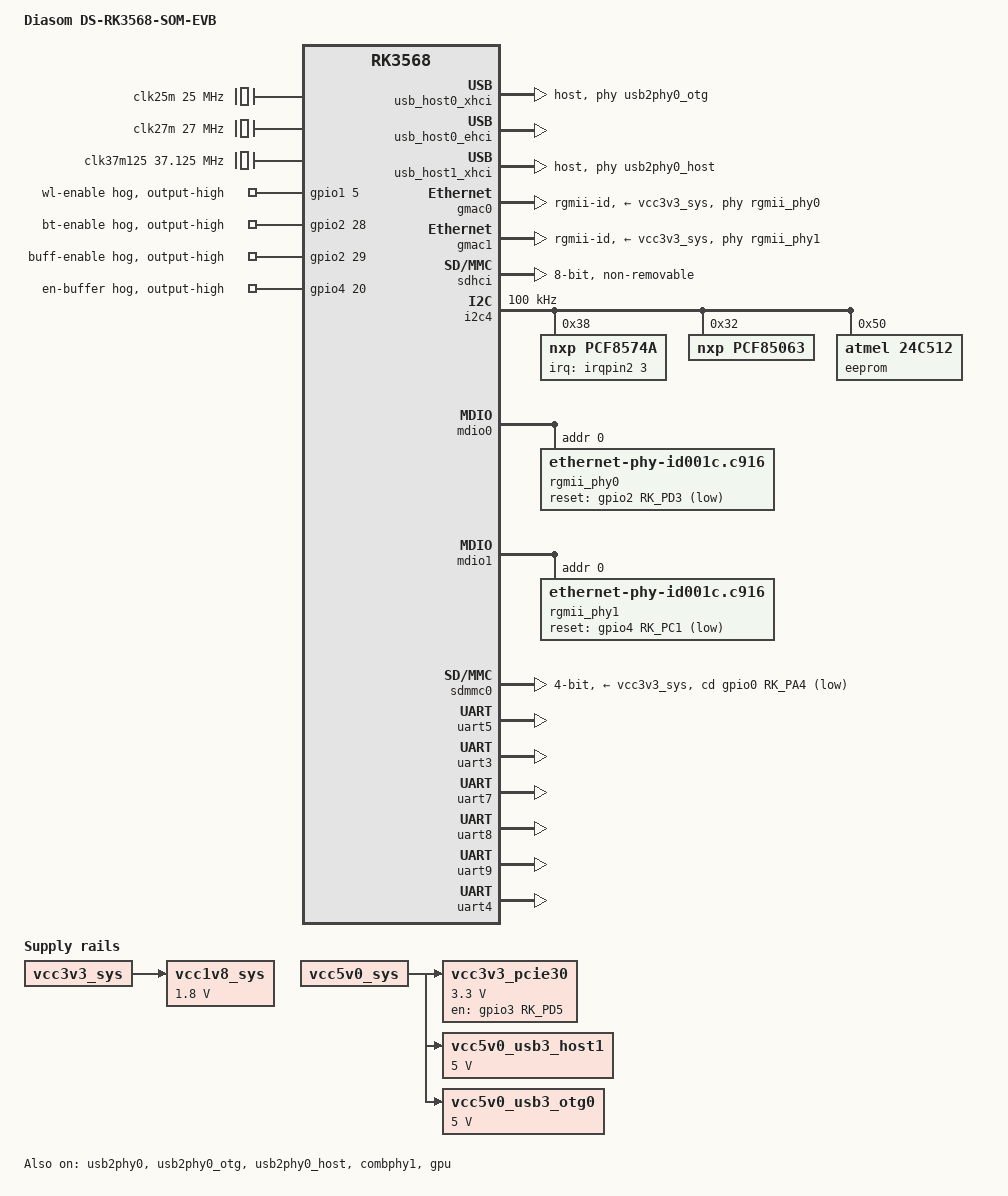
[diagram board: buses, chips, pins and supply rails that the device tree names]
/* SPDX-License-Identifier: GPL-2.0+ */
/* SPDX-FileCopyrightText: Alexander Shiyan <shc_work@mail.ru> */

/dts-v1/;

#include <dt-bindings/soc/rockchip,vop2.h>

#include "rk3568-diasom-som.dtsi"

#define USBOTG_HOST

/ {
	model = "Diasom DS-RK3568-SOM-EVB";
	compatible = "diasom,ds-rk3568-som-evb",
		     "diasom,ds-rk3568-som",
		     "rockchip,rk3568";

	aliases {
		ethernet0 = &gmac0;
		ethernet1 = &gmac1;
		mmc1 = &sdmmc0;
		gpio5 = &pcf8574a;
		rtc1 = &pcf85063;
		state = &state_node;
		mmc0 = &sdmmc0;
        mmc1 = &sdmmc1;
	};

    chosen {
        /* Магия автоматического переключения: */
        /* Если BootROM рапортует старт с mmc0 (eMMC), 
		bootsource смотрит на mmc0 */
        barebox,bootsource-mmc0 = &sdmmc0;
        /* Если BootROM рапортует старт с mmc1 (SD), 
		bootsource прозрачно переключается на mmc1 */
        barebox,bootsource-mmc1 = &sdmmc1;
    };

	state_node: state {
	        compatible = "barebox,state";
	        magic = <0x4c726d63>;
	
        	backend = <&sdmmc0>; 
	        backend-type = "raw";
			/* Благодаря этому GUID, Barebox найдет раздел и на SD, и на eMMC */
			backend-guid = "0657fd6d-a4ab-43c4-84e5-0933c84b4f4f";
	
			bootstate {
				#address-cells = <1>;
				#size-cells = <1>;
				/* Переменные bootchooser */
				system0 {
					/* Резервируем 16 байт под первый слот */
					reg = <0x0 0x10>;
					type = "uint32";
				};

				system1 {
					/* Резервируем следующие 16 байт под второй слот */
					reg = <0x10 0x10>;
					type = "uint32";
				};
			};
	    };

	clk25m: clk25m {
		compatible = "fixed-clock";
		clock-frequency = <25000000>;
		#clock-cells = <0>;
	};

	clk27m: clk27m {
		compatible = "fixed-clock";
		clock-frequency = <27000000>;
		#clock-cells = <0>;
	};

	clk37m125: clk37m125 {
		compatible = "fixed-clock";
		clock-frequency = <37125000>;
		#clock-cells = <0>;
	};

	vcc1v8_sys: vcc1v8-sys-regulator {
		compatible = "regulator-fixed";
		regulator-name = "1v8_sys";
		regulator-always-on;
		regulator-boot-on;
		regulator-min-microvolt = <1800000>;
		regulator-max-microvolt = <1800000>;
		vin-supply = <&vcc3v3_sys>;
	};

	vcc3v3_pcie20: vcc3v3-pcie20-pwr-regulator {
		compatible = "regulator-fixed";
		enable-active-high;
		regulator-name = "3v3_pcie20";
		regulator-min-microvolt = <3300000>;
		regulator-max-microvolt = <3300000>;
		startup-delay-us = <20000>;
		vin-supply = <&vcc3v3_sys>;
		status = "disabled";
	};

	vcc3v3_pcie30: vcc3v3-pcie30-regulator {
		pinctrl-names = "default";
		pinctrl-0 = <&pcie30_pwr_pins>;
		compatible = "regulator-fixed";
		enable-active-high;
		gpio = <&gpio3 RK_PD5 GPIO_ACTIVE_HIGH>;
		regulator-name = "3v3_pcie30";
		regulator-min-microvolt = <3300000>;
		regulator-max-microvolt = <3300000>;
		startup-delay-us = <20000>;
		vin-supply = <&vcc5v0_sys>;
	};

	vcc3v3_pi6c: vcc3v3-pi6c-regulator {
		pinctrl-names = "default";
		// pinctrl-0 = <&pcie30_oe_pins>;
		compatible = "regulator-fixed";
		/* Fixup for PCI-e in the bootloader */
		regulator-boot-on;
		// gpio = <&gpio3 RK_PD4 GPIO_ACTIVE_LOW>;
		regulator-name = "3v3_pi6c";
		regulator-min-microvolt = <3300000>;
		regulator-max-microvolt = <3300000>;
		startup-delay-us = <20000>;
		vin-supply = <&vcc3v3_pcie30>;
		status = "disabled";
	};

	vcc5v0_usb3_host1: vcc5v0-usb3-host1-regulator {
		compatible = "regulator-fixed";
		enable-active-high;
		regulator-name = "vcc5v0_usb3_host1";
		regulator-min-microvolt = <5000000>;
		regulator-max-microvolt = <5000000>;
		startup-delay-us = <20000>;
		vin-supply = <&vcc5v0_sys>;
		regulator-always-on;
		status = "okay";
	};

	vcc5v0_usb3_otg0: vcc5v0-usb3-otg0-regulator {
		compatible = "regulator-fixed";
		regulator-name = "vcc5v0_usb3_otg0";
		regulator-min-microvolt = <5000000>;
		regulator-max-microvolt = <5000000>;
		startup-delay-us = <20000>;
		vin-supply = <&vcc5v0_sys>;
		regulator-always-on;
		status = "okay";
	};

	vcc_cam0: vcc-cam0-regulator {
		pinctrl-names = "default";
		pinctrl-0 = <&csi0_pwr>;
		compatible = "regulator-fixed";
		/* Used by RAW probe for cameras connected via I2C */
		regulator-boot-on;
		enable-active-high;
		// gpio = <&gpio2 RK_PD2 GPIO_ACTIVE_HIGH>;
		regulator-name = "vcc_cam0";
		startup-delay-us = <250000>;
		status = "disabled";
	};

	vcc_cam1: vcc-cam1-regulator {
		compatible = "regulator-fixed";
		enable-active-high;
		regulator-name = "vcc_cam1";
		startup-delay-us = <250000>;
		status = "disabled";
	};
};

/* === ЕДИНЫЙ ФИЗИЧЕСКИЙ БЛОК PHY0 (Здесь разведены оба устройства) === */
&usb2phy0 {
    status = "okay";
};

/* Линии хаба TUSB2077 (Аппаратный OTG0) */
&usb2phy0_otg {
	rockchip,vbus-always-on;
    status = "okay";
};

/* Линии модема LE910C1-EU (Аппаратный Host0) */
&usb2phy0_host {
	rockchip,vbus-always-on;
	status = "okay";
};

/* === КОНТРОЛЛЕР ХАБА TUSB2077 (Использует xHCI 0 + половину PHY0_OTG) === */
&usb_host0_xhci {
    dr_mode = "host";
    phys = <&usb2phy0_otg>;
    phy-names = "usb2-phy";
    maximum-speed = "high-speed";
    status = "okay";
};

&usb_host0_ehci {
    status = "okay";
};

/* === КОНТРОЛЛЕР МОДЕМА (Использует xHCI 1 + половину PHY0_HOST) === */
&usb_host1_xhci {
	dr_mode = "host";
	phys = <&usb2phy0_host>, <&combphy1 PHY_TYPE_USB3>;
	phy-names = "usb2-phy", "usb3-phy";
	status = "okay";
};

&usb_host1_ehci { status = "disabled"; };
&usb_host1_ohci { status = "disabled"; };

&combphy1 {
	status = "okay";
};

/* === НЕИСПОЛЬЗУЕМЫЙ ФИЗИЧЕСКИЙ БЛОК PHY1 (Полностью отключаем) === */
&usb2phy1 { status = "disabled"; };
&usb2phy1_host { status = "disabled"; };
&usb2phy1_otg { status = "disabled"; };

/* === РЕГУЛЯТОРЫ ПИТАНИЯ === */
&vcc5v0_usb3_host1 {
	compatible = "regulator-fixed";
	regulator-name = "vcc5v0_usb3_host1";
	regulator-min-microvolt = <5000000>;
	regulator-max-microvolt = <5000000>;
	regulator-always-on;
	regulator-boot-on;
	status = "okay";
};

&vcc5v0_usb3_otg0 {
	compatible = "regulator-fixed";
	regulator-name = "vcc5v0_usb3_otg0";
	regulator-min-microvolt = <5000000>;
	regulator-max-microvolt = <5000000>;
	regulator-always-on;
	regulator-boot-on;
	status = "okay";
};

&csi2_dphy0 {
	status = "disabled";

	ports {
		#address-cells = <1>;
		#size-cells = <0>;

		port@0 {
			reg = <0>;
			#address-cells = <1>;
			#size-cells = <0>;
		};

		port@1 {
			reg = <1>;

			csi_out: endpoint {
				remote-endpoint = <&isp_in>;
				data-lanes = <1 2 3 4>;
			};
		};
	};
};

&csi2_dphy_hw {
	status = "disabled";
};

&display_subsystem {
	status = "disabled";
};

&gmac0 {
	assigned-clocks = <&cru SCLK_GMAC0_RX_TX>, <&cru SCLK_GMAC0>;
	assigned-clock-parents = <&cru SCLK_GMAC0_RGMII_SPEED>;
	assigned-clock-rates = <0>, <125000000>;
	pinctrl-names = "default";
	pinctrl-0 = <
		&gmac0_miim &gmac0_tx_bus2 &gmac0_rx_bus2
		&gmac0_rgmii_clk &gmac0_rgmii_bus
	>;
	clock_in_out = "output";
	phy-handle = <&rgmii_phy0>;
	phy-mode = "rgmii-id";
	phy-supply = <&vcc3v3_sys>;
};

&gmac1 {
	assigned-clocks = <&cru SCLK_GMAC1_RX_TX>, <&cru SCLK_GMAC1>;
	assigned-clock-parents = <&cru SCLK_GMAC1_RGMII_SPEED>;
	assigned-clock-rates = <0>, <125000000>;
	pinctrl-names = "default";
	pinctrl-0 = <
		&gmac1m1_miim &gmac1m1_tx_bus2 &gmac1m1_rx_bus2
		&gmac1m1_rgmii_clk &gmac1m1_rgmii_bus
	>;
	clock_in_out = "output";
	phy-handle = <&rgmii_phy1>;
	phy-mode = "rgmii-id";
	phy-supply = <&vcc3v3_sys>;
};

&gpu {
	status = "okay";
};

&sdhci {
    status = "okay";
    non-removable;
    bus-width = <8>;
};

&i2c1 {
	/* FUSB302 is not detected at 1MHz, so lets reduce frequency to 400KHz */
	clock-frequency = <400000>;
	status = "disabled";
};

&i2c4 {
	pinctrl-0 = <&i2c4m0_xfer>;
/*
	pinctrl-1 = <&i2c4m0_gpio>;
	pinctrl-names = "default", "recovery";
    recovery-gpios = <&gpio4 RK_PB2 GPIO_ACTIVE_HIGH>,
                     <&gpio4 RK_PB3 GPIO_ACTIVE_HIGH>;
 */
	resets = <&cru SRST_I2C4>;
    	reset-names = "i2c";
/*
	i2c-scl-rising-time-ns = <200>;
    i2c-scl-falling-time-ns = <200>;
    i2c-sda-holding-time-ns = <200>;
    retries = <3>;
    timeout-ms = <1000>;
 */
	clock-frequency = <100000>;
	multi-master;
	status = "okay";

	pcf8574a: gpio5@38 {
		compatible = "nxp,pcf8574a";
		reg = <0x38>;
		gpio-ranges = <&pinctrl 0 160 8>;
		interrupt-parent = <&irqpin2>;
		interrupts = <3 0>;
		gpio-controller;
		#gpio-cells = <2>;
		interrupt-controller;
		#interrupt-cells = <2>;
		gpio-line-names =
			"DI-1",
			"DI-2",
			"DI-3",
			"DI-4",
			"CAP good",
			"PWR good",
			"PWR fault",
			"CAP fault";
	};

	pcf85063: rtc@32 {
		compatible = "nxp,pcf85063";
		reg = <0x32>;
		quartz-load-femtofarads = <12500>;

		clock {
			compatible = "fixed-clock";
			#clock-cells = <0>;
			clock-frequency = <32768>;
		};
	};

	eeprom@50 {
		compatible = "atmel,24c512";
		reg = <0x50>;
		pagesize = <128>;
	};
};

&isp {
	status = "disabled";
};

&isp_mmu {
	status = "disabled";
};

&isp_vir0 {
	status = "disabled";

	port {
		#address-cells = <1>;
		#size-cells = <0>;

		isp_in: endpoint@0 {
			reg = <0>;
			remote-endpoint = <&csi_out>;
		};
	};
};

&mdio0 {
	rgmii_phy0: phy@0 {
		/* RTL8211F */
		pinctrl-names = "default";
		pinctrl-0 = <&gmac0_rst_pins>;
		compatible = "ethernet-phy-id001c.c916";
		reg = <0x0>;
		reset-assert-us = <20000>;
		reset-deassert-us = <100000>;
		reset-gpios = <&gpio2 RK_PD3 GPIO_ACTIVE_LOW>;
	};
};

&mdio1 {
	rgmii_phy1: phy@0 {
		/* RTL8211F */
		pinctrl-names = "default";
		pinctrl-0 = <&gmac1_rst_pins>;
		compatible = "ethernet-phy-id001c.c916";
		reg = <0x0>;
		reset-assert-us = <20000>;
		reset-deassert-us = <100000>;
		reset-gpios = <&gpio4 RK_PC1 GPIO_ACTIVE_LOW>;
	};
};

&pcie2x1 {
	pinctrl-names = "default";
	pinctrl-0 = <&pcie20_pins>;
	reset-gpios = <&gpio1 RK_PB1 GPIO_ACTIVE_HIGH>;
	vpcie3v3-supply = <&vcc3v3_pcie20>;
	status = "disabled";
};

&pcie30phy {
	data-lanes = <1 1>;
	phy-supply = <&vcc3v3_pi6c>;
	status = "disabled";
};

&pcie3x2 {
	pinctrl-names = "default";
	pinctrl-0 = <&pcie30_pins>;
	reset-gpios = <&gpio4 RK_PC4 GPIO_ACTIVE_HIGH>;
	vpcie3v3-supply = <&vcc3v3_pi6c>;
	status = "disabled";
};

&pwm5 {
	status = "disabled";
};

&rga {
	status = "disabled";
};

&sdmmc0 {
	pinctrl-names = "default";
	pinctrl-0 = <&sdmmc0_bus4 &sdmmc0_clk &sdmmc0_cmd &sdmmc0_det>;
	bus-width = <4>;
	disable-wp;
	cd-gpios = <&gpio0 RK_PA4 GPIO_ACTIVE_LOW>;
	vmmc-supply = <&vcc3v3_sys>;
	status = "okay";
};

&spi1 {
	pinctrl-0 = <&spi1m1_pins_hs &spi1m1_cs0_hs>;
	num-cs = <1>;
	status = "disabled";

	spi@0 {
		compatible = "rohm,dh2228fv";
		reg = <0>;
	};
};

&spi2 {
	pinctrl-0 = <&spi2m1_pins_hs &spi2m1_cs0_hs &spi2m1_cs1_hs>;
	num-cs = <2>;
	status = "disabled";

	spi@0 {
		compatible = "rohm,dh2228fv";
		reg = <0>;
	};

	spi@1 {
		compatible = "rohm,dh2228fv";
		reg = <1>;
	};
};

// Slot-1
&uart5 {
	/delete-property/ dmas;
	pinctrl-0 = <&uart5m1_xfer>;
	status = "okay";
};

// Slot-2
&uart3 {
	/delete-property/ dmas;
	pinctrl-0 = <&uart3m1_xfer>;
	status = "okay";
};

// Slot-5 485-1
&uart7 {
	/delete-property/ dmas;
	pinctrl-0 = <&uart7m1_xfer &uart7m0_ctsn &uart7m0_rtsn>;
	linux,rs485-enabled-at-boot-time;
	rs485-rts-active-low;
	uart-has-rtscts;
	status = "okay";
};

// Slot-6 485-2
&uart8 {
	/delete-property/ dmas;
	pinctrl-0 = <&uart8m0_xfer &uart8m0_ctsn &uart8m0_rtsn>;
	linux,rs485-enabled-at-boot-time;
	rs485-rts-active-low;
	uart-has-rtscts;
	status = "okay";
};

// Slot-3
&uart9 {
	/delete-property/ dmas;
	pinctrl-0 = <&uart9m1_xfer>;
	status = "okay";
};

// Slot-4	// TODO: Fix levels
&uart4 {
	/delete-property/ dmas;
	pinctrl-0 = <&uart4m0_xfer>;
	status = "okay";
};

&vpu {
	status = "disabled";
};

&vdpu_mmu {
	status = "disabled";
};

&vepu {
	status = "disabled";
};

&vepu_mmu {
	status = "disabled";
};

&vop {
	status = "disabled";
};

&vop_mmu {
	status = "disabled";
};

&pinctrl {
	pinctrl-names = "default";
	pinctrl-0 = <&board_pins>;

	board {
		board_pins: board-pins {
			rockchip,pins =
				<1 RK_PA7 RK_FUNC_GPIO &pcfg_pull_up>;		/* GPIO_3 */
		};
	};

	csi {
		/* csi0 clkout = cif_clk */

		csi0_pwr: csi0-pwr-pins {
			rockchip,pins =
				<2 RK_PD2 RK_FUNC_GPIO &pcfg_pull_up>;		/* CSI_PWREN0 */
		};

		csi0_rst: csi0-rst-pins {
			rockchip,pins =
				<3 RK_PB6 RK_FUNC_GPIO &pcfg_pull_up>;		/* CSI_RESET0# */
		};
	};

	dsi {
		dsi_pins: dsi-pins {
			rockchip,pins =
				<0 RK_PC5 RK_FUNC_GPIO &pcfg_pull_up>,		/* DSI_PWREN */
				<0 RK_PB6 RK_FUNC_GPIO &pcfg_pull_up>;		/* DSI_RESET# */
		};
	};

	lvds {
		lvds_pins: lvds-pins {
			rockchip,pins =
				<0 RK_PC5 RK_FUNC_GPIO &pcfg_pull_up>;		/* LVDS_PWREN */
		};
	};

	net {
		gmac0_rst_pins: gmac0-rst-pins {
			rockchip,pins =
				<2 RK_PD3 RK_FUNC_GPIO &pcfg_pull_none>;	/* GMAC0_RST */
		};

		gmac1_rst_pins: gmac1-rst-pins {
			rockchip,pins =
				<4 RK_PC1 RK_FUNC_GPIO &pcfg_pull_none>;	/* GMAC1_RST */
		};
	};

	pcie20 {
		pcie20_pins: pcie20-pins {
			rockchip,pins =
				<2 RK_PD0 4 &pcfg_pull_none>,			/* PCIE20_CLKREQn_M1 */
				<2 RK_PD1 4 &pcfg_pull_none>,			/* PCIE20_WAKEn_M1 */
				<1 RK_PB1 RK_FUNC_GPIO &pcfg_pull_none>;	/* PCIE20_PERST */
		};
	};

	pcie30 {
		pcie30_pins: pcie30-pins {
			rockchip,pins =
				<4 RK_PC2 4 &pcfg_pull_none>,			/* PCIE30X2_CLKREQn_M2 */
				<4 RK_PC3 4 &pcfg_pull_none>,			/* PCIE30X2_WAKEn_M2 */
				<4 RK_PC4 RK_FUNC_GPIO &pcfg_pull_up>;		/* PCIE30X2_PERSTn_M2 */
		};

		pcie30_pwr_pins: pcie30-pwr-pins {
			rockchip,pins =
				<3 RK_PD5 RK_FUNC_GPIO &pcfg_pull_up>;		/* PCIE30_PWREN */
		};
	};
};

&pinctrl {
	usb_reset {
		mdm_reset_pin: mdm-reset-pin {
			/*
			* Настраиваем GPIO1_A3 как выход с низким уровнем.
			*/
			rockchip,pins = <1 RK_PA3 RK_FUNC_GPIO &pcfg_output_low>;
		};
	};
	i2c4_reset {
		i2c4m0_gpio: i2c4m0-gpio {
			rockchip,pins =
				<4 RK_PB2 RK_FUNC_GPIO &pcfg_pull_none>,  /* SDA */
				<4 RK_PB3 RK_FUNC_GPIO &pcfg_pull_none>;  /* SCL */
		};
	};
};

&gpio0 {
	gpio-line-names = "","","","","","","","","","","","mdm-enable","","","","","","","","","","","","","","","","","","","","";
	 
	// mdm-enable {
	// 	gpio-hog;
	// 	gpios = <11 2>;	// line number in gpio port (not global)
	// 	output-low;
	// 	line-name = "mdm-enable";
	// };
};

&gpio1 {
	pinctrl-0 = <&mdm_reset_pin>;
    pinctrl-names = "default";

	compatible = "rockchip,gpio-bank";
	reg = <0x0 0xfe740000 0x0 0x100>;
	interrupts = <GIC_SPI 34 IRQ_TYPE_LEVEL_HIGH>;
	clocks = <&cru PCLK_GPIO1>, <&cru DBCLK_GPIO1>;
	gpio-controller;
	gpio-ranges = <&pinctrl 0 32 32>;
	#gpio-cells = <2>;
	interrupt-controller;
	#interrupt-cells = <2>;
	gpio-line-names = "","hub-reset","","mdm-reset","","wl-enable","","","","pps-out","","","","","","","","","","","","","","","","","","","","","","";
	/*
	line_pps {
		gpio-hog;
		gpios = <9 2>;	// line number in gpio port (not global)
		output-high;
		line-name = "pps-out";
	};
	 */
	 
	// mdm-reset {
	// 	gpio-hog;
	// 	gpios = <3 2>;	// line number in gpio port (not global)
	// 	output-low;
	// 	line-name = "mdm-reset";
	// };

	wl-enable {
		gpio-hog;
		gpios = <5 2>;	// line number in gpio port (not global)
		output-high;
		line-name = "wl-enable";
	};
};

&gpio2 {
	compatible = "rockchip,gpio-bank";
	reg = <0x0 0xfe750000 0x0 0x100>;
	interrupts = <GIC_SPI 35 IRQ_TYPE_LEVEL_HIGH>;
	clocks = <&cru PCLK_GPIO2>, <&cru DBCLK_GPIO2>;
	gpio-controller;
	gpio-ranges = <&pinctrl 0 64 32>;
	#gpio-cells = <2>;
	interrupt-controller;
	#interrupt-cells = <2>;
	gpio-line-names = "","","","","","","","","","","","","","","","","","","","","","","","","","","","","bt-enable","buff-enable","","";

	bt-enable {
		gpio-hog;
		gpios = <28 2>;	// line number in gpio port (not global)
		output-high;
		line-name = "bt-enable";
	};
	buff-enable {
		gpio-hog;
		gpios = <29 2>;	// line number in gpio port (not global)
		output-high;
		line-name = "buff-enable";
	};
};

&gpio4 {
	compatible = "rockchip,gpio-bank";
	reg = <0x0 0xfe770000 0x0 0x100>;
	interrupts = <GIC_SPI 37 IRQ_TYPE_LEVEL_HIGH>;
	clocks = <&cru PCLK_GPIO4>, <&cru DBCLK_GPIO4>;
	gpio-controller;
	gpio-ranges = <&pinctrl 0 128 32>;
	#gpio-cells = <2>;
	interrupt-controller;
	#interrupt-cells = <2>;
	line_en-buff {
		gpio-hog;
		gpios = <20 2>;	// line number in gpio port (not global)
		output-high;
		line-name = "en-buffer";
	};
};
